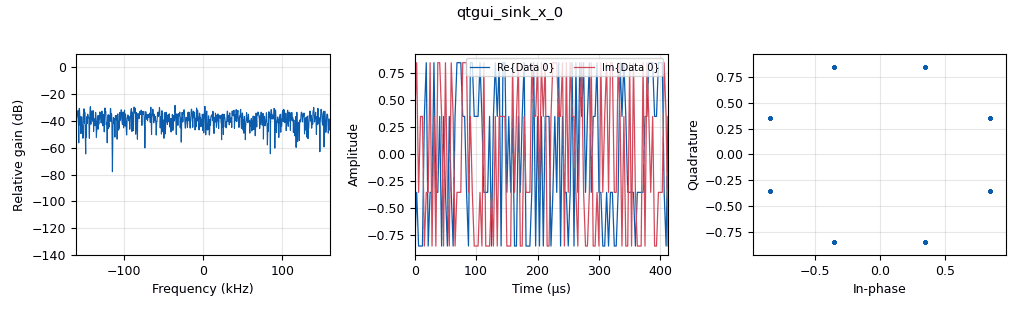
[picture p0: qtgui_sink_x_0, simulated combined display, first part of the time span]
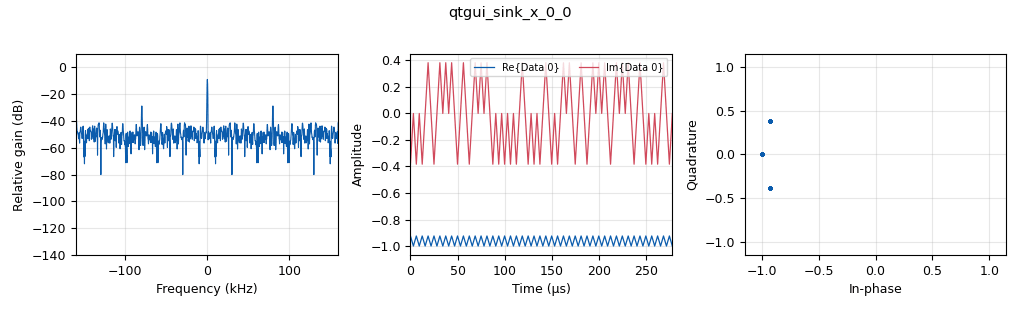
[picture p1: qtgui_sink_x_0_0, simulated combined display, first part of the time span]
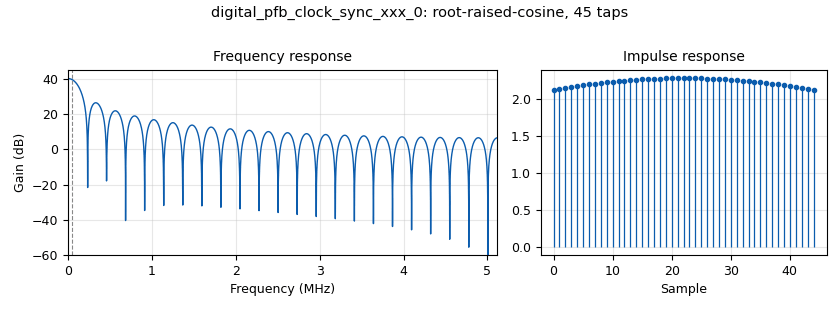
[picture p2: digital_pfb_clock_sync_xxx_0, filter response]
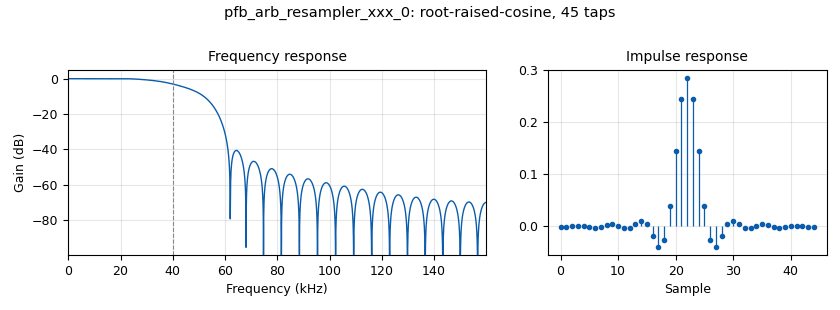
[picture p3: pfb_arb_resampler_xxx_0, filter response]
options:
  parameters:
    generate_options: qt_gui
    id: lab105
    output_language: python
    title: lab105
  states: {}

blocks:
- name: alpha
  id: variable
  parameters:
    value: '0.5'
  states: {}
- name: f_off
  id: variable
  parameters:
    value: '5000'
  states: {}
- name: sample_rate
  id: variable
  parameters:
    value: '320000'
  states: {}
- name: sps
  id: variable
  parameters:
    value: '4'
  states: {}
- name: analog_random_source_x_0
  id: analog_random_source_x
  parameters:
    max: '8'
    min: '0'
    num_samps: '1000'
    repeat: 'True'
    type: byte
  states: {}
- name: analog_sig_source_x_0
  id: analog_sig_source_x
  parameters:
    amp: '1'
    freq: f_off
    offset: '0'
    phase: '0'
    samp_rate: sample_rate
    type: complex
    waveform: analog.GR_SIN_WAVE
  states: {}
- name: blocks_complex_to_arg_0
  id: blocks_complex_to_arg
  parameters: {}
  states: {}
- name: blocks_conjugate_cc_0
  id: blocks_conjugate_cc
  parameters: {}
  states: {}
- name: blocks_delay_0
  id: blocks_delay
  parameters:
    delay: '1'
    type: complex
  states: {}
- name: blocks_exponentiate_const_cci_0
  id: blocks_exponentiate_const_cci
  parameters:
    exponent: '8'
  states: {}
- name: blocks_multiply_const_vxx_0
  id: blocks_multiply_const_vxx
  parameters:
    const: '0.125'
    type: float
  states: {}
- name: blocks_multiply_xx_0
  id: blocks_multiply_xx
  parameters:
    type: complex
  states: {}
- name: blocks_multiply_xx_1
  id: blocks_multiply_xx
  parameters:
    type: complex
  states: {}
- name: blocks_multiply_xx_2
  id: blocks_multiply_xx
  parameters:
    type: complex
  states: {}
- name: blocks_throttle_0
  id: blocks_throttle
  parameters:
    samples_per_second: sample_rate
    type: complex
  states: {}
- name: blocks_throttle_0_0
  id: blocks_throttle
  parameters:
    samples_per_second: sample_rate
    type: complex
  states: {}
- name: blocks_throttle_0_1
  id: blocks_throttle
  parameters:
    samples_per_second: sample_rate
    type: complex
  states: {state: disabled}
- name: blocks_vco_c_0
  id: blocks_vco_c
  parameters:
    amplitude: '1'
    samp_rate: sample_rate
    sensitivity: '-320000'
  states: {}
- name: digital_chunks_to_symbols_xx_0
  id: digital_chunks_to_symbols_xx
  parameters:
    dimension: '1'
    in_type: byte
    out_type: complex
    symbol_table: (1.4142, 1+1j, 1.4142j, -1+1j, -1.4142, -1-1j, -1.4142j, 1-1j)
  states: {}
- name: digital_pfb_clock_sync_xxx_0
  id: digital_pfb_clock_sync_xxx
  parameters:
    filter_size: '32'
    init_phase: '16'
    loop_bw: '0.062831853'
    max_dev: '1.5'
    osps: '1'
    sps: sps
    taps: firdes.root_raised_cosine(100, 32*sample_rate, sample_rate/sps, alpha, 11*sps)
    type: ccf
  states: {}
- name: pfb_arb_resampler_xxx_0
  id: pfb_arb_resampler_xxx
  parameters:
    atten: '100'
    nfilts: '32'
    rrate: sps
    taps: firdes.root_raised_cosine(1, sample_rate, sample_rate/sps, alpha, 11*sps)
    type: ccf
  states: {}
- name: qtgui_sink_x_0
  id: qtgui_sink_x
  parameters:
    bw: sample_rate
    fc: '0'
    fftsize: '1024'
    type: complex
  states: {}
- name: qtgui_sink_x_0_0
  id: qtgui_sink_x
  parameters:
    bw: sample_rate
    fc: '0'
    fftsize: '1024'
    type: complex
  states: {}
- name: qtgui_sink_x_0_1
  id: qtgui_sink_x
  parameters:
    bw: sample_rate
    fc: '0'
    fftsize: '1024'
    type: complex
  states: {state: disabled}

connections:
- [analog_random_source_x_0, '0', digital_chunks_to_symbols_xx_0, '0']
- [analog_sig_source_x_0, '0', blocks_multiply_xx_0, '0']
- [blocks_complex_to_arg_0, '0', blocks_multiply_const_vxx_0, '0']
- [blocks_conjugate_cc_0, '0', blocks_multiply_xx_1, '1']
- [blocks_delay_0, '0', blocks_conjugate_cc_0, '0']
- [blocks_exponentiate_const_cci_0, '0', blocks_delay_0, '0']
- [blocks_exponentiate_const_cci_0, '0', blocks_multiply_xx_1, '0']
- [blocks_multiply_const_vxx_0, '0', blocks_vco_c_0, '0']
- [blocks_multiply_xx_0, '0', blocks_throttle_0_1, '0']
- [blocks_multiply_xx_0, '0', digital_pfb_clock_sync_xxx_0, '0']
- [blocks_multiply_xx_1, '0', blocks_complex_to_arg_0, '0']
- [blocks_multiply_xx_2, '0', blocks_throttle_0, '0']
- [blocks_throttle_0, '0', qtgui_sink_x_0, '0']
- [blocks_throttle_0_0, '0', qtgui_sink_x_0_0, '0']
- [blocks_throttle_0_1, '0', qtgui_sink_x_0_1, '0']
- [blocks_vco_c_0, '0', blocks_multiply_xx_2, '1']
- [blocks_vco_c_0, '0', blocks_throttle_0_0, '0']
- [digital_chunks_to_symbols_xx_0, '0', pfb_arb_resampler_xxx_0, '0']
- [digital_pfb_clock_sync_xxx_0, '0', blocks_exponentiate_const_cci_0, '0']
- [digital_pfb_clock_sync_xxx_0, '0', blocks_multiply_xx_2, '0']
- [pfb_arb_resampler_xxx_0, '0', blocks_multiply_xx_0, '1']

metadata:
  file_format: 1
